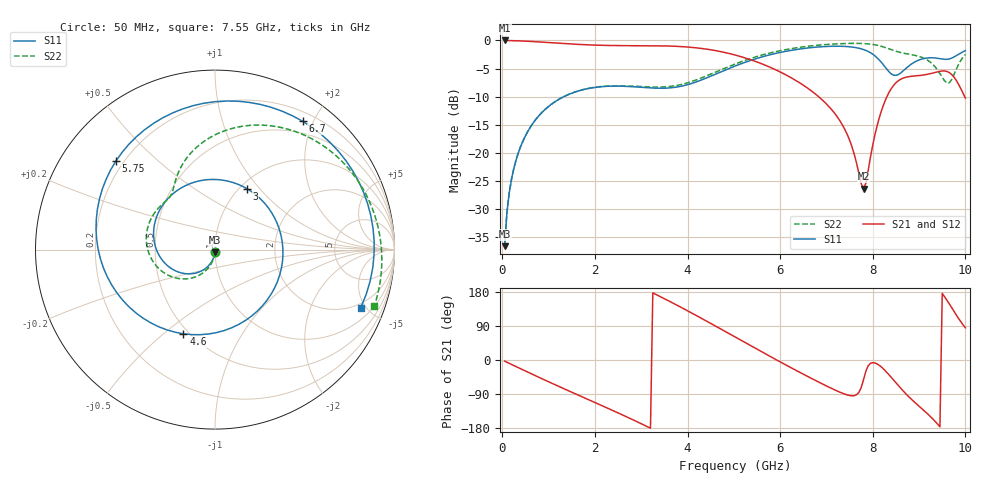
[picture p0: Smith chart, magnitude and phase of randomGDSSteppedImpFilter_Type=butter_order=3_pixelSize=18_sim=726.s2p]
! freq	dB(S11)	phase(S11)	dB(S12)	phase(S12)
!  dB(S21)	phase(S21)	dB(S22)	phase(S22)
!S-par simulation data
#  GHz  S  DB  R 50
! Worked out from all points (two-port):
!   200 points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, 50 MHz to 10 GHz, reference 50 ohm
!   highest |S21| = 0.00 dB at 50 MHz (marker M1); lowest = -26.4 dB at 7.8 GHz (marker M2)
!   |S21| within 3 dB of the highest: start of sweep to 5.203 GHz
!   lowest |S11| = -36.6 dB at 50 MHz (marker M3), VSWR 1.03, Z = 49.9 - j1.48 ohm
!   |S11| at or under -10 dB: start of sweep to 1.328 GHz
!   |S22| runs from -36.6 to -0.5 dB; largest |S21 - S12| = 0
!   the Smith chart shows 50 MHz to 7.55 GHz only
!   S11 on the Smith chart (normalised r, x): 50 MHz: 1.00, -0.03; 3 GHz: 1.08, +0.86; 4.6 GHz: 0.47, -0.59; 5.75 GHz: 0.17, +0.37; 6.7 GHz: 0.32, +1.85; 7.55 GHz: 1.67, -4.60
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0.05  -36.57 -93.1  -0.00 -3.0  -0.00 -3.0  -36.57 -92.5
0.2  -24.62 -103.1  -0.03 -11.8  -0.03 -11.8  -24.61 -100.7
0.5  -16.96 -122.7  -0.13 -29.1  -0.13 -29.1  -16.94 -116.6
1.75  -8.75 157.2  -0.75 -98.6  -0.75 -98.6  -8.72 -175.6
3  -8.33 62.1  -0.93 -168.1  -0.93 -168.1  -8.20 141.0
3.4  -8.50 22.8  -0.96 168.0  -0.96 168.0  -8.29 132.6
3.95  -7.98 -38.3  -1.14 133.2  -1.14 133.2  -7.66 123.9
4.6  -6.00 -110.5  -1.80 89.8  -1.80 89.8  -5.64 108.8
5.05  -4.47 -156.2  -2.64 59.2  -2.64 59.2  -4.11 92.9
5.75  -2.61 138.3  -4.65 11.7  -4.65 11.7  -2.29 62.9
6.25  -1.75 94.3  -6.69 -21.4  -6.69 -21.4  -1.44 40.1
6.7  -1.25 55.7  -9.13 -50.1  -9.13 -50.1  -0.94 19.5
7.15  -1.03 16.7  -12.68 -77.3  -12.68 -77.3  -0.64 -1.0
7.55  -1.17 -21.8  -18.89 -94.4  -18.89 -94.4  -0.53 -19.5
7.8  -1.62 -51.5  -26.35 -52.0  -26.35 -52.0  -0.56 -31.6
8.1  -3.14 -101.8  -14.96 -10.8  -14.96 -10.8  -0.86 -47.0
8.35  -5.57 -169.7  -9.25 -38.9  -9.25 -38.9  -1.49 -59.4
8.7  -5.09 78.3  -6.57 -87.4  -6.57 -87.4  -2.32 -74.4
9.2  -3.10 3.4  -5.99 -143.9  -5.99 -143.9  -3.61 -113.0
9.5  -3.31 -17.6  -5.43 175.6  -5.43 175.6  -6.55 -174.7
9.75  -2.96 -24.8  -6.47 129.0  -6.47 129.0  -6.15 75.2
10  -1.82 -36.1  -10.25 84.9  -10.25 84.9  -2.50 4.0
